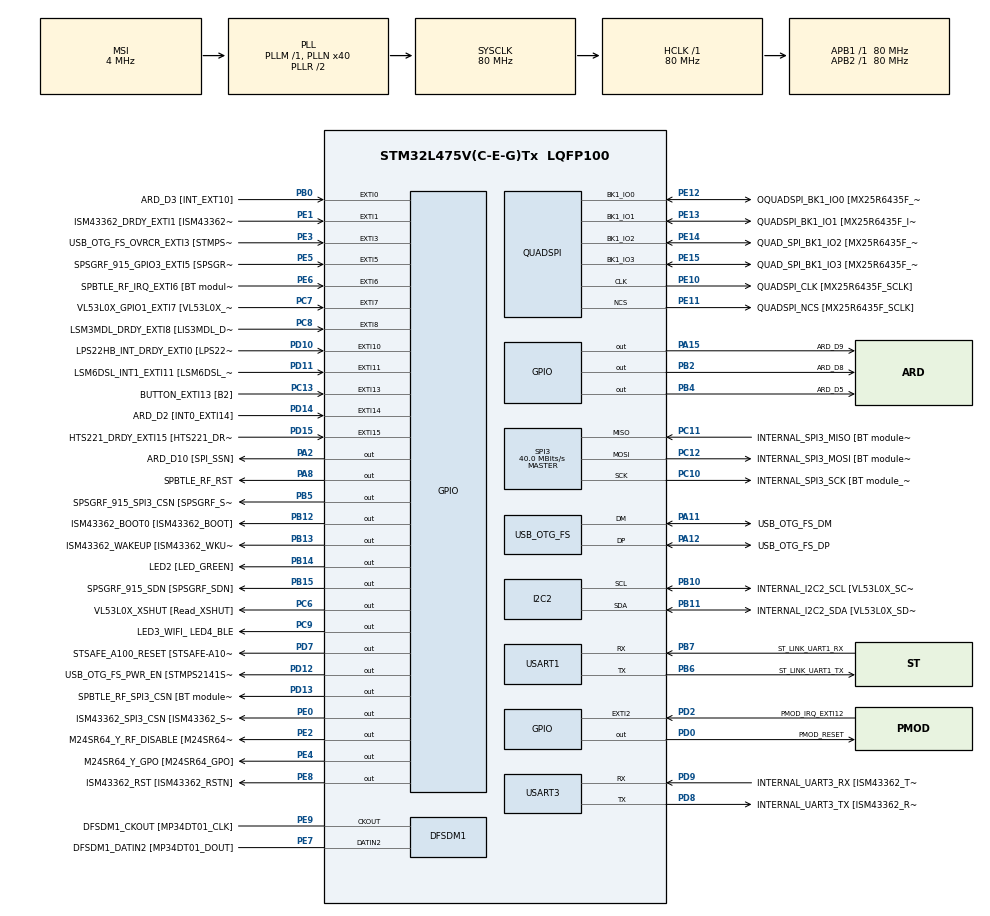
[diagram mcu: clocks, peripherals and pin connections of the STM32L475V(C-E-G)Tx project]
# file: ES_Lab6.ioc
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ADC1.Channel-0\#ChannelRegularConversion=ADC_CHANNEL_TEMPSENSOR
ADC1.ContinuousConvMode=DISABLE
ADC1.DMAContinuousRequests=ENABLE
ADC1.ExternalTrigConv=ADC_EXTERNALTRIG_T2_TRGO
ADC1.NbrOfConversionFlag=1
ADC1.OffsetNumber-0\#ChannelRegularConversion=ADC_OFFSET_NONE
ADC1.Rank-0\#ChannelRegularConversion=1
ADC1.SamplingTime-0\#ChannelRegularConversion=ADC_SAMPLETIME_640CYCLES_5
ADC1.master=1
Dma.ADC1.0.Direction=DMA_PERIPH_TO_MEMORY
Dma.ADC1.0.Instance=DMA1_Channel1
Dma.ADC1.0.MemDataAlignment=DMA_MDATAALIGN_HALFWORD
Dma.ADC1.0.MemInc=DMA_MINC_ENABLE
Dma.ADC1.0.Mode=DMA_CIRCULAR
Dma.ADC1.0.PeriphDataAlignment=DMA_PDATAALIGN_HALFWORD
Dma.ADC1.0.PeriphInc=DMA_PINC_DISABLE
Dma.ADC1.0.Priority=DMA_PRIORITY_LOW
Dma.Request0=ADC1
FREERTOS.BinarySemaphores01=myBinarySem01,Dynamic,NULL,Depleted;myBinarySem02,Dynamic,NULL,Depleted
FREERTOS.Tasks01=defaultTask,24,256,StartDefaultTask,Default,NULL,Dynamic,NULL,NULL
Mcu.Family=STM32L4
Mcu.Name=STM32L475V(C-E-G)Tx
Mcu.Package=LQFP100
NVIC.ADC1_2_IRQn=true\:5\:0\:false\:false\:true\:true\:true\:true\:true
NVIC.DMA1_Channel1_IRQn=true\:5\:0\:false\:false\:true\:true\:false\:true\:true
NVIC.EXTI15_10_IRQn=true\:5\:0\:false\:false\:true\:true\:true\:true\:true
NVIC.EXTI9_5_IRQn=true\:5\:0\:false\:false\:true\:true\:true\:true\:true
NVIC.PriorityGroup=NVIC_PRIORITYGROUP_4
NVIC.TIM1_UP_TIM16_IRQn=true\:15\:0\:false\:false\:true\:false\:false\:true\:true
NVIC.TimeBase=TIM1_UP_TIM16_IRQn
NVIC.TimeBaseIP=TIM1
PA0.GPIO_Label=ARD_D1 [UART4_TX]
PA0.Signal=UART4_TX
PA1.GPIO_Label=ARD_D0 [UART4_RX]
PA1.Signal=UART4_RX
PA10.GPIO_Label=USB_OTG_FS_ID
PA10.Signal=USB_OTG_FS_ID
PA11.GPIO_Label=USB_OTG_FS_DM
PA11.Mode=Device_Only
PA11.Signal=USB_OTG_FS_DM
PA12.GPIO_Label=USB_OTG_FS_DP
PA12.Mode=Device_Only
PA12.Signal=USB_OTG_FS_DP
PA13\ (JTMS-SWDIO).GPIO_Label=SYS_JTMS_SWDIO
PA13\ (JTMS-SWDIO).Mode=Serial_Wire
PA13\ (JTMS-SWDIO).Signal=SYS_JTMS-SWDIO
PA14\ (JTCK-SWCLK).GPIO_Label=SYS_JTCK_SWCLK
PA14\ (JTCK-SWCLK).Mode=Serial_Wire
PA14\ (JTCK-SWCLK).Signal=SYS_JTCK-SWCLK
PA15\ (JTDI).GPIO_Label=ARD_D9
PA15\ (JTDI).Signal=GPIO_Output
PA2.GPIO_Label=ARD_D10 [SPI_SSN]
PA2.Signal=GPIO_Output
PA3.GPIO_Label=ARD_D4
PA3.Signal=S_TIM2_CH4
PA4.GPIO_Label=ARD_D7
PA4.Signal=ADCx_IN9
PA5.GPIO_Label=ARD_D13 [SPI1_SCK]
PA5.Signal=SPI1_SCK
PA6.GPIO_Label=ARD_D12 [SPI1_MISO]
PA6.Signal=SPI1_MISO
PA7.GPIO_Label=ARD_D11 [SPI1_MOSI]
PA7.Signal=SPI1_MOSI
PA8.GPIO_Label=SPBTLE_RF_RST
PA8.Signal=GPIO_Output
PA9.GPIO_Label=USB_OTG_FS_VBUS [STMPS2141STR_OUT]
PA9.Signal=USB_OTG_FS_VBUS
PB0.GPIO_Label=ARD_D3 [INT_EXT10]
PB0.Signal=GPXTI0
PB1.GPIO_Label=ARD_D6 [ADC1_IN6]
PB1.Signal=ADCx_IN16
PB10.GPIO_Label=INTERNAL_I2C2_SCL [VL53L0X_SCL]
PB10.GPIO_Pu=GPIO_PULLUP
PB10.Mode=I2C
PB10.Signal=I2C2_SCL
PB11.GPIO_Label=INTERNAL_I2C2_SDA [VL53L0X_SDA]
PB11.GPIO_Pu=GPIO_PULLUP
PB11.Mode=I2C
PB11.Signal=I2C2_SDA
PB12.GPIO_Label=ISM43362_BOOT0 [ISM43362_BOOT]
PB12.Signal=GPIO_Output
PB13.GPIO_Label=ISM43362_WAKEUP [ISM43362_WKUP]
PB13.Signal=GPIO_Output
PB14.GPIO_Label=LED2 [LED_GREEN]
PB14.Signal=GPIO_Output
PB15.GPIO_Label=SPSGRF_915_SDN [SPSGRF_SDN]
PB15.Signal=GPIO_Output
PB2.GPIO_Label=ARD_D8
PB2.Signal=GPIO_Output
PB3\ (JTDO-TRACESWO).GPIO_Label=SYS_JTD0_SWO
PB3\ (JTDO-TRACESWO).Signal=SYS_JTDO-SWO
PB4\ (NJTRST).GPIO_Label=ARD_D5
PB4\ (NJTRST).Signal=GPIO_Output
PB5.GPIO_Label=SPSGRF_915_SPI3_CSN [SPSGRF_SPI_CS]
PB5.PinState=GPIO_PIN_SET
PB5.Signal=GPIO_Output
PB6.GPIO_Label=ST_LINK_UART1_TX
PB6.Mode=Asynchronous
PB6.Signal=USART1_TX
PB7.GPIO_Label=ST_LINK_UART1_RX
PB7.Mode=Asynchronous
PB7.Signal=USART1_RX
PB8.GPIO_Label=ARD_D15 [I2C1_SCL]
PB8.Signal=I2C1_SCL
PB9.GPIO_Label=ARD_D14 [I2C1_SDA]
PB9.Signal=I2C1_SDA
PC0.GPIO_Label=ARD_A5 [ADC]
PC0.Signal=ADCx_IN1
PC1.GPIO_Label=ARD_A4 [ADC]
PC1.Signal=ADCx_IN2
PC10.GPIO_Label=INTERNAL_SPI3_SCK [BT module_SPI_SCLK] [ISM43362_SCK]
PC10.Mode=Full_Duplex_Master
PC10.Signal=SPI3_SCK
PC11.GPIO_Label=INTERNAL_SPI3_MISO [BT module_SPI_MISO] [ISM43362_MISO]
PC11.Mode=Full_Duplex_Master
PC11.Signal=SPI3_MISO
PC12.GPIO_Label=INTERNAL_SPI3_MOSI [BT module_SPI_MOSI] [ISM43362_MOSI]
PC12.Mode=Full_Duplex_Master
PC12.Signal=SPI3_MOSI
PC13.GPIO_Label=BUTTON_EXTI13 [B2]
PC13.GPIO_ModeDefaultEXTI=GPIO_MODE_IT_FALLING
PC13.Signal=GPXTI13
PC14-OSC32_IN\ (PC14).Mode=LSE-External-Oscillator
PC14-OSC32_IN\ (PC14).Signal=RCC_OSC32_IN
PC15-OSC32_OUT\ (PC15).Mode=LSE-External-Oscillator
PC15-OSC32_OUT\ (PC15).Signal=RCC_OSC32_OUT
PC2.GPIO_Label=ARD_A3 [ADC]
PC2.Signal=ADCx_IN3
PC3.GPIO_Label=ARD_A2 [ADC]
PC3.Signal=ADCx_IN4
PC4.GPIO_Label=ARD_A1 [ADC]
PC4.Signal=ADCx_IN13
PC5.GPIO_Label=ARD_A0 [ADC]
PC5.Signal=ADCx_IN14
PC6.GPIO_Label=VL53L0X_XSHUT [Read_XSHUT]
PC6.Signal=GPIO_Output
PC7.GPIO_Label=VL53L0X_GPIO1_EXTI7 [VL53L0X_GPIO1]
PC7.Signal=GPXTI7
PC8.GPIO_Label=LSM3MDL_DRDY_EXTI8 [LIS3MDL_DRDY]
PC8.Signal=GPXTI8
PC9.GPIO_Label=LED3_WIFI_ LED4_BLE
PC9.Signal=GPIO_Output
PD0.GPIO_Label=PMOD_RESET
PD0.Signal=GPIO_Output
PD1.GPIO_Label=PMOD_SPI2_SCK
PD1.Signal=SPI2_SCK
PD10.GPIO_Label=LPS22HB_INT_DRDY_EXTI0 [LPS22HB_INT_DRDY] 
PD10.Signal=GPXTI10
PD11.GPIO_Label=LSM6DSL_INT1_EXTI11 [LSM6DSL_INT1]
PD11.Signal=GPXTI11
PD12.GPIO_Label=USB_OTG_FS_PWR_EN [STMPS2141STR_EN]
PD12.Signal=GPIO_Output
PD13.GPIO_Label=SPBTLE_RF_SPI3_CSN [BT module_SPI_CS]
PD13.PinState=GPIO_PIN_SET
PD13.Signal=GPIO_Output
PD14.GPIO_Label=ARD_D2 [INT0_EXTI14]
PD14.Signal=GPXTI14
PD15.GPIO_Label=HTS221_DRDY_EXTI15 [HTS221_DRDY]
PD15.Signal=GPXTI15
PD2.GPIO_Label=PMOD_IRQ_EXTI12
PD2.Signal=GPXTI2
PD3.GPIO_Label=PMOD_UART2_CTS
PD3.Signal=USART2_CTS
PD4.GPIO_Label=PMOD_UART2_RTS
PD4.Signal=USART2_RTS
PD5.GPIO_Label=PMOD_UART2_TX
PD5.Signal=USART2_TX
PD6.GPIO_Label=PMOD_UART2_RX
PD6.Signal=USART2_RX
PD7.GPIO_Label=STSAFE_A100_RESET [STSAFE-A100_RESET]
PD7.Signal=GPIO_Output
PD8.GPIO_Label=INTERNAL_UART3_TX [ISM43362_RX]
PD8.Mode=Asynchronous
PD8.Signal=USART3_TX
PD9.GPIO_Label=INTERNAL_UART3_RX [ISM43362_TX]
PD9.Mode=Asynchronous
PD9.Signal=USART3_RX
PE0.GPIO_Label=ISM43362_SPI3_CSN [ISM43362_SSN]
PE0.PinState=GPIO_PIN_SET
PE0.Signal=GPIO_Output
PE1.GPIO_Label=ISM43362_DRDY_EXTI1 [ISM43362_DATARDY]
PE1.Signal=GPXTI1
PE10.GPIO_Label=QUADSPI_CLK [MX25R6435F_SCLK]
PE10.Mode=Single Bank
PE10.Signal=QUADSPI_CLK
PE11.GPIO_Label=QUADSPI_NCS [MX25R6435F_SCLK]
PE11.Mode=Single Bank
PE11.Signal=QUADSPI_NCS
PE12.GPIO_Label=OQUADSPI_BK1_IO0 [MX25R6435F_IO0]
PE12.Mode=Single Bank
PE12.Signal=QUADSPI_BK1_IO0
PE13.GPIO_Label=QUADSPI_BK1_IO1 [MX25R6435F_IO1]
PE13.Mode=Single Bank
PE13.Signal=QUADSPI_BK1_IO1
PE14.GPIO_Label=QUAD_SPI_BK1_IO2 [MX25R6435F_IO2]
PE14.Mode=Single Bank
PE14.Signal=QUADSPI_BK1_IO2
PE15.GPIO_Label=QUAD_SPI_BK1_IO3 [MX25R6435F_IO3]
PE15.Mode=Single Bank
PE15.Signal=QUADSPI_BK1_IO3
PE2.GPIO_Label=M24SR64_Y_RF_DISABLE [M24SR64_RFDIS]
PE2.Signal=GPIO_Output
PE3.GPIO_Label=USB_OTG_FS_OVRCR_EXTI3 [STMPS2141STR_FAULT]
PE3.Signal=GPXTI3
PE4.GPIO_Label=M24SR64_Y_GPO [M24SR64_GPO]
PE4.Signal=GPIO_Output
PE5.GPIO_Label=SPSGRF_915_GPIO3_EXTI5 [SPSGRF_GPIO_3]
PE5.Signal=GPXTI5
PE6.GPIO_Label=SPBTLE_RF_IRQ_EXTI6 [BT module_SPI_IRQ]
PE6.Signal=GPXTI6
PE7.GPIO_Label=DFSDM1_DATIN2 [MP34DT01_DOUT]
PE7.Signal=S_DATAIN2DFSDM1
PE8.GPIO_Label=ISM43362_RST [ISM43362_RSTN]
PE8.Signal=GPIO_Output
PE9.GPIO_Label=DFSDM1_CKOUT [MP34DT01_CLK]
PE9.Signal=S_CKOUTDFSDM1
PH0-OSC_IN\ (PH0).Mode=HSE-External-Oscillator
PH0-OSC_IN\ (PH0).Signal=RCC_OSC_IN
PH1-OSC_OUT\ (PH1).Mode=HSE-External-Oscillator
PH1-OSC_OUT\ (PH1).Signal=RCC_OSC_OUT
ProjectManager.HeapSize=0x200
ProjectManager.StackSize=0x400
ProjectManager.TargetToolchain=STM32CubeIDE
QUADSPI.ClockPrescaler=2
QUADSPI.FifoThreshold=4
QUADSPI.FlashSize=23
QUADSPI.SampleShifting=QSPI_SAMPLE_SHIFTING_HALFCYCLE
RCC.ADCFreq_Value=48000000
RCC.AHBFreq_Value=80000000
RCC.APB1Freq_Value=80000000
RCC.APB1TimFreq_Value=80000000
RCC.APB2Freq_Value=80000000
RCC.APB2TimFreq_Value=80000000
RCC.CortexFreq_Value=80000000
RCC.HCLKFreq_Value=80000000
RCC.HSE_VALUE=8000000
RCC.HSI_VALUE=16000000
RCC.MSI_VALUE=4000000
RCC.PLLN=40
RCC.PLLSAI1N=24
RCC.SYSCLKFreq_VALUE=80000000
RCC.SYSCLKSource=RCC_SYSCLKSOURCE_PLLCLK
RCC.USBFreq_Value=48000000
RCC.VCOOutputFreq_Value=160000000
SH.ADCx_IN1.0=ADC1_IN1
SH.ADCx_IN13.0=ADC1_IN13
SH.ADCx_IN14.0=ADC1_IN14
SH.ADCx_IN16.0=ADC1_IN16
SH.ADCx_IN2.0=ADC1_IN2
SH.ADCx_IN3.0=ADC1_IN3
SH.ADCx_IN4.0=ADC1_IN4
SH.ADCx_IN9.0=ADC1_IN9
SH.S_CKOUTDFSDM1.0=DFSDM1_CKOUT,CKOUT
SH.S_CKOUTDFSDM1.1=DFSDM1_CKOUT,PDM_SPI_Input_from_ch12_and_Internal_Clock
SH.S_DATAIN2DFSDM1.0=DFSDM1_DATIN2,PDM_SPI_Input_from_ch12_and_Internal_Clock
SH.S_TIM2_CH4.0=TIM2_CH4
SPI3.CalculateBaudRate=40.0 MBits/s
SPI3.Direction=SPI_DIRECTION_2LINES
SPI3.Mode=SPI_MODE_MASTER
SPI3.VirtualType=VM_MASTER
TIM2.Period=9999
TIM2.Prescaler=79
TIM2.TIM_MasterOutputTrigger=TIM_TRGO_UPDATE
USART1.VirtualMode-Asynchronous=VM_ASYNC
USART3.VirtualMode-Asynchronous=VM_ASYNC
USB_OTG_FS.VirtualMode=Device_Only
VP_ADC1_TempSens_Input.Mode=IN-TempSens
VP_FREERTOS_VS_CMSIS_V2.Mode=CMSIS_V2
VP_SYS_VS_tim1.Mode=TIM1
VP_TIM2_VS_ClockSourceINT.Mode=Internal
board=B-L475E-IOT01A2

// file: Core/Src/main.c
/* USER CODE BEGIN Header */
/**
  ******************************************************************************
  * @file           : main.c
  * @brief          : Main program body
  ******************************************************************************
  * @attention
  *
  * Copyright (c) 2025 STMicroelectronics.
  * All rights reserved.
  *
  * This software is licensed under terms that can be found in the LICENSE file
  * in the root directory of this software component.
  * If no LICENSE file comes with this software, it is provided AS-IS.
  *
  ******************************************************************************
  */
/* USER CODE END Header */
#include "main.h"
#include "cmsis_os.h"

/* USER CODE BEGIN Includes */
#include "tmpsensor.h"
#include "uart_printf.h"
/* USER CODE END Includes */

/* USER CODE BEGIN PD */
#define SAMPLE_BUFFER_SIZE  256
/* USER CODE END PD */

ADC_HandleTypeDef hadc1;
DMA_HandleTypeDef hdma_adc1;

DFSDM_Channel_HandleTypeDef hdfsdm1_channel1;

I2C_HandleTypeDef hi2c2;

QSPI_HandleTypeDef hqspi;

SPI_HandleTypeDef hspi3;

TIM_HandleTypeDef htim2;

UART_HandleTypeDef huart1;
UART_HandleTypeDef huart3;

PCD_HandleTypeDef hpcd_USB_OTG_FS;

/* Definitions for defaultTask */
osThreadId_t defaultTaskHandle;
const osThreadAttr_t defaultTask_attributes = {
  .name = "defaultTask",
  .stack_size = 256 * 4,
  .priority = (osPriority_t) osPriorityNormal,
};
/* Definitions for myBinarySem01 */
osSemaphoreId_t myBinarySem01Handle;
const osSemaphoreAttr_t myBinarySem01_attributes = {
  .name = "myBinarySem01"
};
/* Definitions for myBinarySem02 */
osSemaphoreId_t myBinarySem02Handle;
const osSemaphoreAttr_t myBinarySem02_attributes = {
  .name = "myBinarySem02"
};
/* USER CODE BEGIN PV */
uint16_t sample_buffer[SAMPLE_BUFFER_SIZE];
/* USER CODE END PV */

void SystemClock_Config(void);
void PeriphCommonClock_Config(void);
static void MX_GPIO_Init(void);
static void MX_DMA_Init(void);
static void MX_DFSDM1_Init(void);
static void MX_I2C2_Init(void);
static void MX_QUADSPI_Init(void);
static void MX_SPI3_Init(void);
static void MX_USART1_UART_Init(void);
static void MX_USART3_UART_Init(void);
static void MX_USB_OTG_FS_PCD_Init(void);
static void MX_ADC1_Init(void);
static void MX_TIM2_Init(void);
void StartDefaultTask(void *argument);

int main(void)
{

  /* MCU Configuration--------------------------------------------------------*/

  /* Reset of all peripherals, Initializes the Flash interface and the Systick. */
  HAL_Init();

  /* Configure the system clock */
  SystemClock_Config();

  /* Configure the peripherals common clocks */
  PeriphCommonClock_Config();

  /* Initialize all configured peripherals */
  MX_GPIO_Init();
  MX_DMA_Init();
  MX_DFSDM1_Init();
  MX_I2C2_Init();
  MX_QUADSPI_Init();
  MX_SPI3_Init();
  MX_USART1_UART_Init();
  MX_USART3_UART_Init();
  MX_USB_OTG_FS_PCD_Init();
  MX_ADC1_Init();
  MX_TIM2_Init();
  /* USER CODE BEGIN 2 */
  HAL_ADC_Start_DMA(&hadc1, (uint32_t*)sample_buffer, SAMPLE_BUFFER_SIZE);
  HAL_TIM_Base_Start(&htim2); /* This timer starts ADC conversion */
  /* USER CODE END 2 */

  /* Init scheduler */
  osKernelInitialize();

  /* Create the semaphores(s) */
  /* creation of myBinarySem01 */
  myBinarySem01Handle = osSemaphoreNew(1, 0, &myBinarySem01_attributes);

  /* creation of myBinarySem02 */
  myBinarySem02Handle = osSemaphoreNew(1, 0, &myBinarySem02_attributes);

  /* Create the thread(s) */
  /* creation of defaultTask */
  defaultTaskHandle = osThreadNew(StartDefaultTask, NULL, &defaultTask_attributes);

  /* Start scheduler */
  osKernelStart();

  /* We should never get here as control is now taken by the scheduler */

  /* Infinite loop */
  while (1)
  {

  }
}

void SystemClock_Config(void)
{
  RCC_OscInitTypeDef RCC_OscInitStruct = {0};
  RCC_ClkInitTypeDef RCC_ClkInitStruct = {0};

  /** Configure the main internal regulator output voltage
  */
  if (HAL_PWREx_ControlVoltageScaling(PWR_REGULATOR_VOLTAGE_SCALE1) != HAL_OK)
  {
    Error_Handler();
  }

  /** Configure LSE Drive Capability
  */
  HAL_PWR_EnableBkUpAccess();
  __HAL_RCC_LSEDRIVE_CONFIG(RCC_LSEDRIVE_LOW);

  /** Initializes the RCC Oscillators according to the specified parameters
  * in the RCC_OscInitTypeDef structure.
  */
  RCC_OscInitStruct.OscillatorType = RCC_OSCILLATORTYPE_LSE|RCC_OSCILLATORTYPE_MSI;
  RCC_OscInitStruct.LSEState = RCC_LSE_ON;
  RCC_OscInitStruct.MSIState = RCC_MSI_ON;
  RCC_OscInitStruct.MSICalibrationValue = 0;
  RCC_OscInitStruct.MSIClockRange = RCC_MSIRANGE_6;
  RCC_OscInitStruct.PLL.PLLState = RCC_PLL_ON;
  RCC_OscInitStruct.PLL.PLLSource = RCC_PLLSOURCE_MSI;
  RCC_OscInitStruct.PLL.PLLM = 1;
  RCC_OscInitStruct.PLL.PLLN = 40;
  RCC_OscInitStruct.PLL.PLLP = RCC_PLLP_DIV7;
  RCC_OscInitStruct.PLL.PLLQ = RCC_PLLQ_DIV2;
  RCC_OscInitStruct.PLL.PLLR = RCC_PLLR_DIV2;
  if (HAL_RCC_OscConfig(&RCC_OscInitStruct) != HAL_OK)
  {
    Error_Handler();
  }

  /** Initializes the CPU, AHB and APB buses clocks
  */
  RCC_ClkInitStruct.ClockType = RCC_CLOCKTYPE_HCLK|RCC_CLOCKTYPE_SYSCLK
                              |RCC_CLOCKTYPE_PCLK1|RCC_CLOCKTYPE_PCLK2;
  RCC_ClkInitStruct.SYSCLKSource = RCC_SYSCLKSOURCE_PLLCLK;
  RCC_ClkInitStruct.AHBCLKDivider = RCC_SYSCLK_DIV1;
  RCC_ClkInitStruct.APB1CLKDivider = RCC_HCLK_DIV1;
  RCC_ClkInitStruct.APB2CLKDivider = RCC_HCLK_DIV1;

  if (HAL_RCC_ClockConfig(&RCC_ClkInitStruct, FLASH_LATENCY_4) != HAL_OK)
  {
    Error_Handler();
  }

  /** Enable MSI Auto calibration
  */
  HAL_RCCEx_EnableMSIPLLMode();
}

void PeriphCommonClock_Config(void)
{
  RCC_PeriphCLKInitTypeDef PeriphClkInit = {0};

  /** Initializes the peripherals clock
  */
  PeriphClkInit.PeriphClockSelection = RCC_PERIPHCLK_USB|RCC_PERIPHCLK_ADC;
  PeriphClkInit.AdcClockSelection = RCC_ADCCLKSOURCE_PLLSAI1;
  PeriphClkInit.UsbClockSelection = RCC_USBCLKSOURCE_PLLSAI1;
  PeriphClkInit.PLLSAI1.PLLSAI1Source = RCC_PLLSOURCE_MSI;
  PeriphClkInit.PLLSAI1.PLLSAI1M = 1;
  PeriphClkInit.PLLSAI1.PLLSAI1N = 24;
  PeriphClkInit.PLLSAI1.PLLSAI1P = RCC_PLLP_DIV7;
  PeriphClkInit.PLLSAI1.PLLSAI1Q = RCC_PLLQ_DIV2;
  PeriphClkInit.PLLSAI1.PLLSAI1R = RCC_PLLR_DIV2;
  PeriphClkInit.PLLSAI1.PLLSAI1ClockOut = RCC_PLLSAI1_48M2CLK|RCC_PLLSAI1_ADC1CLK;
  if (HAL_RCCEx_PeriphCLKConfig(&PeriphClkInit) != HAL_OK)
  {
    Error_Handler();
  }
}

static void MX_ADC1_Init(void)
{

  ADC_MultiModeTypeDef multimode = {0};
  ADC_ChannelConfTypeDef sConfig = {0};

  /** Common config
  */
  hadc1.Instance = ADC1;
  hadc1.Init.ClockPrescaler = ADC_CLOCK_ASYNC_DIV1;
  hadc1.Init.Resolution = ADC_RESOLUTION_12B;
  hadc1.Init.DataAlign = ADC_DATAALIGN_RIGHT;
  hadc1.Init.ScanConvMode = ADC_SCAN_DISABLE;
  hadc1.Init.EOCSelection = ADC_EOC_SINGLE_CONV;
  hadc1.Init.LowPowerAutoWait = DISABLE;
  hadc1.Init.ContinuousConvMode = DISABLE;
  hadc1.Init.NbrOfConversion = 1;
  hadc1.Init.DiscontinuousConvMode = DISABLE;
  hadc1.Init.ExternalTrigConv = ADC_EXTERNALTRIG_T2_TRGO;
  hadc1.Init.ExternalTrigConvEdge = ADC_EXTERNALTRIGCONVEDGE_RISING;
  hadc1.Init.DMAContinuousRequests = ENABLE;
  hadc1.Init.Overrun = ADC_OVR_DATA_PRESERVED;
  hadc1.Init.OversamplingMode = DISABLE;
  if (HAL_ADC_Init(&hadc1) != HAL_OK)
  {
    Error_Handler();
  }

  /** Configure the ADC multi-mode
  */
  multimode.Mode = ADC_MODE_INDEPENDENT;
  if (HAL_ADCEx_MultiModeConfigChannel(&hadc1, &multimode) != HAL_OK)
  {
    Error_Handler();
  }

  /** Configure Regular Channel
  */
  sConfig.Channel = ADC_CHANNEL_TEMPSENSOR;
  sConfig.Rank = ADC_REGULAR_RANK_1;
  sConfig.SamplingTime = ADC_SAMPLETIME_640CYCLES_5;
  sConfig.SingleDiff = ADC_SINGLE_ENDED;
  sConfig.OffsetNumber = ADC_OFFSET_NONE;
  sConfig.Offset = 0;
  if (HAL_ADC_ConfigChannel(&hadc1, &sConfig) != HAL_OK)
  {
    Error_Handler();
  }

}

static void MX_DFSDM1_Init(void)
{

  hdfsdm1_channel1.Instance = DFSDM1_Channel1;
  hdfsdm1_channel1.Init.OutputClock.Activation = ENABLE;
  hdfsdm1_channel1.Init.OutputClock.Selection = DFSDM_CHANNEL_OUTPUT_CLOCK_SYSTEM;
  hdfsdm1_channel1.Init.OutputClock.Divider = 2;
  hdfsdm1_channel1.Init.Input.Multiplexer = DFSDM_CHANNEL_EXTERNAL_INPUTS;
  hdfsdm1_channel1.Init.Input.DataPacking = DFSDM_CHANNEL_STANDARD_MODE;
  hdfsdm1_channel1.Init.Input.Pins = DFSDM_CHANNEL_FOLLOWING_CHANNEL_PINS;
  hdfsdm1_channel1.Init.SerialInterface.Type = DFSDM_CHANNEL_SPI_RISING;
  hdfsdm1_channel1.Init.SerialInterface.SpiClock = DFSDM_CHANNEL_SPI_CLOCK_INTERNAL;
  hdfsdm1_channel1.Init.Awd.FilterOrder = DFSDM_CHANNEL_FASTSINC_ORDER;
  hdfsdm1_channel1.Init.Awd.Oversampling = 1;
  hdfsdm1_channel1.Init.Offset = 0;
  hdfsdm1_channel1.Init.RightBitShift = 0x00;
  if (HAL_DFSDM_ChannelInit(&hdfsdm1_channel1) != HAL_OK)
  {
    Error_Handler();
  }

}

static void MX_I2C2_Init(void)
{

  hi2c2.Instance = I2C2;
  hi2c2.Init.Timing = 0x00000E14;
  hi2c2.Init.OwnAddress1 = 0;
  hi2c2.Init.AddressingMode = I2C_ADDRESSINGMODE_7BIT;
  hi2c2.Init.DualAddressMode = I2C_DUALADDRESS_DISABLE;
  hi2c2.Init.OwnAddress2 = 0;
  hi2c2.Init.OwnAddress2Masks = I2C_OA2_NOMASK;
  hi2c2.Init.GeneralCallMode = I2C_GENERALCALL_DISABLE;
  hi2c2.Init.NoStretchMode = I2C_NOSTRETCH_DISABLE;
  if (HAL_I2C_Init(&hi2c2) != HAL_OK)
  {
    Error_Handler();
  }

  /** Configure Analogue filter
  */
  if (HAL_I2CEx_ConfigAnalogFilter(&hi2c2, I2C_ANALOGFILTER_ENABLE) != HAL_OK)
  {
    Error_Handler();
  }

  /** Configure Digital filter
  */
  if (HAL_I2CEx_ConfigDigitalFilter(&hi2c2, 0) != HAL_OK)
  {
    Error_Handler();
  }

}

static void MX_QUADSPI_Init(void)
{

  /* QUADSPI parameter configuration*/
  hqspi.Instance = QUADSPI;
  hqspi.Init.ClockPrescaler = 2;
  hqspi.Init.FifoThreshold = 4;
  hqspi.Init.SampleShifting = QSPI_SAMPLE_SHIFTING_HALFCYCLE;
  hqspi.Init.FlashSize = 23;
  hqspi.Init.ChipSelectHighTime = QSPI_CS_HIGH_TIME_1_CYCLE;
  hqspi.Init.ClockMode = QSPI_CLOCK_MODE_0;
  if (HAL_QSPI_Init(&hqspi) != HAL_OK)
  {
    Error_Handler();
  }

}

static void MX_SPI3_Init(void)
{

  /* SPI3 parameter configuration*/
  hspi3.Instance = SPI3;
  hspi3.Init.Mode = SPI_MODE_MASTER;
  hspi3.Init.Direction = SPI_DIRECTION_2LINES;
  hspi3.Init.DataSize = SPI_DATASIZE_4BIT;
  hspi3.Init.CLKPolarity = SPI_POLARITY_LOW;
  hspi3.Init.CLKPhase = SPI_PHASE_1EDGE;
  hspi3.Init.NSS = SPI_NSS_SOFT;
  hspi3.Init.BaudRatePrescaler = SPI_BAUDRATEPRESCALER_2;
  hspi3.Init.FirstBit = SPI_FIRSTBIT_MSB;
  hspi3.Init.TIMode = SPI_TIMODE_DISABLE;
  hspi3.Init.CRCCalculation = SPI_CRCCALCULATION_DISABLE;
  hspi3.Init.CRCPolynomial = 7;
  hspi3.Init.CRCLength = SPI_CRC_LENGTH_DATASIZE;
  hspi3.Init.NSSPMode = SPI_NSS_PULSE_ENABLE;
  if (HAL_SPI_Init(&hspi3) != HAL_OK)
  {
    Error_Handler();
  }

}

static void MX_TIM2_Init(void)
{

  TIM_ClockConfigTypeDef sClockSourceConfig = {0};
  TIM_MasterConfigTypeDef sMasterConfig = {0};

  htim2.Instance = TIM2;
  htim2.Init.Prescaler = 79;
  htim2.Init.CounterMode = TIM_COUNTERMODE_UP;
  htim2.Init.Period = 9999;
  htim2.Init.ClockDivision = TIM_CLOCKDIVISION_DIV1;
  htim2.Init.AutoReloadPreload = TIM_AUTORELOAD_PRELOAD_DISABLE;
  if (HAL_TIM_Base_Init(&htim2) != HAL_OK)
  {
    Error_Handler();
  }
  sClockSourceConfig.ClockSource = TIM_CLOCKSOURCE_INTERNAL;
  if (HAL_TIM_ConfigClockSource(&htim2, &sClockSourceConfig) != HAL_OK)
  {
    Error_Handler();
  }
  sMasterConfig.MasterOutputTrigger = TIM_TRGO_UPDATE;
  sMasterConfig.MasterSlaveMode = TIM_MASTERSLAVEMODE_DISABLE;
  if (HAL_TIMEx_MasterConfigSynchronization(&htim2, &sMasterConfig) != HAL_OK)
  {
    Error_Handler();
  }

}

static void MX_USART1_UART_Init(void)
{

  huart1.Instance = USART1;
  huart1.Init.BaudRate = 115200;
  huart1.Init.WordLength = UART_WORDLENGTH_8B;
  huart1.Init.StopBits = UART_STOPBITS_1;
  huart1.Init.Parity = UART_PARITY_NONE;
  huart1.Init.Mode = UART_MODE_TX_RX;
  huart1.Init.HwFlowCtl = UART_HWCONTROL_NONE;
  huart1.Init.OverSampling = UART_OVERSAMPLING_16;
  huart1.Init.OneBitSampling = UART_ONE_BIT_SAMPLE_DISABLE;
  huart1.AdvancedInit.AdvFeatureInit = UART_ADVFEATURE_NO_INIT;
  if (HAL_UART_Init(&huart1) != HAL_OK)
  {
    Error_Handler();
  }

}

static void MX_USART3_UART_Init(void)
{

  huart3.Instance = USART3;
  huart3.Init.BaudRate = 115200;
  huart3.Init.WordLength = UART_WORDLENGTH_8B;
  huart3.Init.StopBits = UART_STOPBITS_1;
  huart3.Init.Parity = UART_PARITY_NONE;
  huart3.Init.Mode = UART_MODE_TX_RX;
  huart3.Init.HwFlowCtl = UART_HWCONTROL_NONE;
  huart3.Init.OverSampling = UART_OVERSAMPLING_16;
  huart3.Init.OneBitSampling = UART_ONE_BIT_SAMPLE_DISABLE;
  huart3.AdvancedInit.AdvFeatureInit = UART_ADVFEATURE_NO_INIT;
  if (HAL_UART_Init(&huart3) != HAL_OK)
  {
    Error_Handler();
  }

}

static void MX_USB_OTG_FS_PCD_Init(void)
{

  hpcd_USB_OTG_FS.Instance = USB_OTG_FS;
  hpcd_USB_OTG_FS.Init.dev_endpoints = 6;
  hpcd_USB_OTG_FS.Init.speed = PCD_SPEED_FULL;
  hpcd_USB_OTG_FS.Init.phy_itface = PCD_PHY_EMBEDDED;
  hpcd_USB_OTG_FS.Init.Sof_enable = DISABLE;
  hpcd_USB_OTG_FS.Init.low_power_enable = DISABLE;
  hpcd_USB_OTG_FS.Init.lpm_enable = DISABLE;
  hpcd_USB_OTG_FS.Init.battery_charging_enable = DISABLE;
  hpcd_USB_OTG_FS.Init.use_dedicated_ep1 = DISABLE;
  hpcd_USB_OTG_FS.Init.vbus_sensing_enable = DISABLE;
  if (HAL_PCD_Init(&hpcd_USB_OTG_FS) != HAL_OK)
  {
    Error_Handler();
  }

}

static void MX_DMA_Init(void)
{

  /* DMA controller clock enable */
  __HAL_RCC_DMA1_CLK_ENABLE();

  /* DMA interrupt init */
  /* DMA1_Channel1_IRQn interrupt configuration */
  HAL_NVIC_SetPriority(DMA1_Channel1_IRQn, 5, 0);
  HAL_NVIC_EnableIRQ(DMA1_Channel1_IRQn);

}

static void MX_GPIO_Init(void)
{
  GPIO_InitTypeDef GPIO_InitStruct = {0};

  /* GPIO Ports Clock Enable */
  __HAL_RCC_GPIOE_CLK_ENABLE();
  __HAL_RCC_GPIOC_CLK_ENABLE();
  __HAL_RCC_GPIOH_CLK_ENABLE();
  __HAL_RCC_GPIOA_CLK_ENABLE();
  __HAL_RCC_GPIOB_CLK_ENABLE();
  __HAL_RCC_GPIOD_CLK_ENABLE();

  /*Configure GPIO pin Output Level */
  HAL_GPIO_WritePin(GPIOE, M24SR64_Y_RF_DISABLE_Pin|M24SR64_Y_GPO_Pin|ISM43362_RST_Pin, GPIO_PIN_RESET);

  /*Configure GPIO pin Output Level */
  HAL_GPIO_WritePin(GPIOA, ARD_D10_Pin|SPBTLE_RF_RST_Pin|ARD_D9_Pin, GPIO_PIN_RESET);

  /*Configure GPIO pin Output Level */
  HAL_GPIO_WritePin(GPIOB, ARD_D8_Pin|ISM43362_BOOT0_Pin|ISM43362_WAKEUP_Pin|LED2_Pin
                          |SPSGRF_915_SDN_Pin|ARD_D5_Pin, GPIO_PIN_RESET);

  /*Configure GPIO pin Output Level */
  HAL_GPIO_WritePin(GPIOD, USB_OTG_FS_PWR_EN_Pin|PMOD_RESET_Pin|STSAFE_A100_RESET_Pin, GPIO_PIN_RESET);

  /*Configure GPIO pin Output Level */
  HAL_GPIO_WritePin(SPBTLE_RF_SPI3_CSN_GPIO_Port, SPBTLE_RF_SPI3_CSN_Pin, GPIO_PIN_SET);

  /*Configure GPIO pin Output Level */
  HAL_GPIO_WritePin(GPIOC, VL53L0X_XSHUT_Pin|LED3_WIFI__LED4_BLE_Pin, GPIO_PIN_RESET);

  /*Configure GPIO pin Output Level */
  HAL_GPIO_WritePin(SPSGRF_915_SPI3_CSN_GPIO_Port, SPSGRF_915_SPI3_CSN_Pin, GPIO_PIN_SET);

  /*Configure GPIO pin Output Level */
  HAL_GPIO_WritePin(ISM43362_SPI3_CSN_GPIO_Port, ISM43362_SPI3_CSN_Pin, GPIO_PIN_SET);

  /*Configure GPIO pins : M24SR64_Y_RF_DISABLE_Pin M24SR64_Y_GPO_Pin ISM43362_RST_Pin ISM43362_SPI3_CSN_Pin */
  GPIO_InitStruct.Pin = M24SR64_Y_RF_DISABLE_Pin|M24SR64_Y_GPO_Pin|ISM43362_RST_Pin|ISM43362_SPI3_CSN_Pin;
  GPIO_InitStruct.Mode = GPIO_MODE_OUTPUT_PP;
  GPIO_InitStruct.Pull = GPIO_NOPULL;
  GPIO_InitStruct.Speed = GPIO_SPEED_FREQ_LOW;
  HAL_GPIO_Init(GPIOE, &GPIO_InitStruct);

  /*Configure GPIO pins : USB_OTG_FS_OVRCR_EXTI3_Pin SPSGRF_915_GPIO3_EXTI5_Pin SPBTLE_RF_IRQ_EXTI6_Pin ISM43362_DRDY_EXTI1_Pin */
  GPIO_InitStruct.Pin = USB_OTG_FS_OVRCR_EXTI3_Pin|SPSGRF_915_GPIO3_EXTI5_Pin|SPBTLE_RF_IRQ_EXTI6_Pin|ISM43362_DRDY_EXTI1_Pin;
  GPIO_InitStruct.Mode = GPIO_MODE_IT_RISING;
  GPIO_InitStruct.Pull = GPIO_NOPULL;
  HAL_GPIO_Init(GPIOE, &GPIO_InitStruct);

  /*Configure GPIO pin : BUTTON_EXTI13_Pin */
  GPIO_InitStruct.Pin = BUTTON_EXTI13_Pin;
  GPIO_InitStruct.Mode = GPIO_MODE_IT_FALLING;
  GPIO_InitStruct.Pull = GPIO_NOPULL;
  HAL_GPIO_Init(BUTTON_EXTI13_GPIO_Port, &GPIO_InitStruct);

  /*Configure GPIO pins : ARD_D1_Pin ARD_D0_Pin */
  GPIO_InitStruct.Pin = ARD_D1_Pin|ARD_D0_Pin;
  GPIO_InitStruct.Mode = GPIO_MODE_AF_PP;
  GPIO_InitStruct.Pull = GPIO_NOPULL;
  GPIO_InitStruct.Speed = GPIO_SPEED_FREQ_VERY_HIGH;
  GPIO_InitStruct.Alternate = GPIO_AF8_UART4;
  HAL_GPIO_Init(GPIOA, &GPIO_InitStruct);

  /*Configure GPIO pins : ARD_D10_Pin SPBTLE_RF_RST_Pin ARD_D9_Pin */
  GPIO_InitStruct.Pin = ARD_D10_Pin|SPBTLE_RF_RST_Pin|ARD_D9_Pin;
  GPIO_InitStruct.Mode = GPIO_MODE_OUTPUT_PP;
  GPIO_InitStruct.Pull = GPIO_NOPULL;
  GPIO_InitStruct.Speed = GPIO_SPEED_FREQ_LOW;
  HAL_GPIO_Init(GPIOA, &GPIO_InitStruct);

  /*Configure GPIO pins : ARD_D13_Pin ARD_D12_Pin ARD_D11_Pin */
  GPIO_InitStruct.Pin = ARD_D13_Pin|ARD_D12_Pin|ARD_D11_Pin;
  GPIO_InitStruct.Mode = GPIO_MODE_AF_PP;
  GPIO_InitStruct.Pull = GPIO_NOPULL;
  GPIO_InitStruct.Speed = GPIO_SPEED_FREQ_VERY_HIGH;
  GPIO_InitStruct.Alternate = GPIO_AF5_SPI1;
  HAL_GPIO_Init(GPIOA, &GPIO_InitStruct);

  /*Configure GPIO pin : ARD_D3_Pin */
  GPIO_InitStruct.Pin = ARD_D3_Pin;
  GPIO_InitStruct.Mode = GPIO_MODE_IT_RISING;
  GPIO_InitStruct.Pull = GPIO_NOPULL;
  HAL_GPIO_Init(ARD_D3_GPIO_Port, &GPIO_InitStruct);

  /*Configure GPIO pins : ARD_D8_Pin ISM43362_BOOT0_Pin ISM43362_WAKEUP_Pin LED2_Pin
                           SPSGRF_915_SDN_Pin ARD_D5_Pin SPSGRF_915_SPI3_CSN_Pin */
  GPIO_InitStruct.Pin = ARD_D8_Pin|ISM43362_BOOT0_Pin|ISM43362_WAKEUP_Pin|LED2_Pin
                          |SPSGRF_915_SDN_Pin|ARD_D5_Pin|SPSGRF_915_SPI3_CSN_Pin;
  GPIO_InitStruct.Mode = GPIO_MODE_OUTPUT_PP;
  GPIO_InitStruct.Pull = GPIO_NOPULL;
  GPIO_InitStruct.Speed = GPIO_SPEED_FREQ_LOW;
  HAL_GPIO_Init(GPIOB, &GPIO_InitStruct);

  /*Configure GPIO pins : LPS22HB_INT_DRDY_EXTI0_Pin LSM6DSL_INT1_EXTI11_Pin ARD_D2_Pin HTS221_DRDY_EXTI15_Pin
                           PMOD_IRQ_EXTI12_Pin */
  GPIO_InitStruct.Pin = LPS22HB_INT_DRDY_EXTI0_Pin|LSM6DSL_INT1_EXTI11_Pin|ARD_D2_Pin|HTS221_DRDY_EXTI15_Pin
                          |PMOD_IRQ_EXTI12_Pin;
  GPIO_InitStruct.Mode = GPIO_MODE_IT_RISING;
  GPIO_InitStruct.Pull = GPIO_NOPULL;
  HAL_GPIO_Init(GPIOD, &GPIO_InitStruct);

  /*Configure GPIO pins : USB_OTG_FS_PWR_EN_Pin SPBTLE_RF_SPI3_CSN_Pin PMOD_RESET_Pin STSAFE_A100_RESET_Pin */
  GPIO_InitStruct.Pin = USB_OTG_FS_PWR_EN_Pin|SPBTLE_RF_SPI3_CSN_Pin|PMOD_RESET_Pin|STSAFE_A100_RESET_Pin;
  GPIO_InitStruct.Mode = GPIO_MODE_OUTPUT_PP;
  GPIO_InitStruct.Pull = GPIO_NOPULL;
  GPIO_InitStruct.Speed = GPIO_SPEED_FREQ_LOW;
  HAL_GPIO_Init(GPIOD, &GPIO_InitStruct);

  /*Configure GPIO pins : VL53L0X_XSHUT_Pin LED3_WIFI__LED4_BLE_Pin */
  GPIO_InitStruct.Pin = VL53L0X_XSHUT_Pin|LED3_WIFI__LED4_BLE_Pin;
  GPIO_InitStruct.Mode = GPIO_MODE_OUTPUT_PP;
  GPIO_InitStruct.Pull = GPIO_NOPULL;
  GPIO_InitStruct.Speed = GPIO_SPEED_FREQ_LOW;
  HAL_GPIO_Init(GPIOC, &GPIO_InitStruct);

  /*Configure GPIO pins : VL53L0X_GPIO1_EXTI7_Pin LSM3MDL_DRDY_EXTI8_Pin */
  GPIO_InitStruct.Pin = VL53L0X_GPIO1_EXTI7_Pin|LSM3MDL_DRDY_EXTI8_Pin;
  GPIO_InitStruct.Mode = GPIO_MODE_IT_RISING;
  GPIO_InitStruct.Pull = GPIO_NOPULL;
  HAL_GPIO_Init(GPIOC, &GPIO_InitStruct);

  /*Configure GPIO pin : PMOD_SPI2_SCK_Pin */
  GPIO_InitStruct.Pin = PMOD_SPI2_SCK_Pin;
  GPIO_InitStruct.Mode = GPIO_MODE_AF_PP;
  GPIO_InitStruct.Pull = GPIO_NOPULL;
  GPIO_InitStruct.Speed = GPIO_SPEED_FREQ_VERY_HIGH;
  GPIO_InitStruct.Alternate = GPIO_AF5_SPI2;
  HAL_GPIO_Init(PMOD_SPI2_SCK_GPIO_Port, &GPIO_InitStruct);

  /*Configure GPIO pins : PMOD_UART2_CTS_Pin PMOD_UART2_RTS_Pin PMOD_UART2_TX_Pin PMOD_UART2_RX_Pin */
  GPIO_InitStruct.Pin = PMOD_UART2_CTS_Pin|PMOD_UART2_RTS_Pin|PMOD_UART2_TX_Pin|PMOD_UART2_RX_Pin;
  GPIO_InitStruct.Mode = GPIO_MODE_AF_PP;
  GPIO_InitStruct.Pull = GPIO_NOPULL;
  GPIO_InitStruct.Speed = GPIO_SPEED_FREQ_VERY_HIGH;
  GPIO_InitStruct.Alternate = GPIO_AF7_USART2;
  HAL_GPIO_Init(GPIOD, &GPIO_InitStruct);

  /*Configure GPIO pins : ARD_D15_Pin ARD_D14_Pin */
  GPIO_InitStruct.Pin = ARD_D15_Pin|ARD_D14_Pin;
  GPIO_InitStruct.Mode = GPIO_MODE_AF_OD;
  GPIO_InitStruct.Pull = GPIO_NOPULL;
  GPIO_InitStruct.Speed = GPIO_SPEED_FREQ_VERY_HIGH;
  GPIO_InitStruct.Alternate = GPIO_AF4_I2C1;
  HAL_GPIO_Init(GPIOB, &GPIO_InitStruct);

  /* EXTI interrupt init*/
  HAL_NVIC_SetPriority(EXTI9_5_IRQn, 5, 0);
  HAL_NVIC_EnableIRQ(EXTI9_5_IRQn);

  HAL_NVIC_SetPriority(EXTI15_10_IRQn, 5, 0);
  HAL_NVIC_EnableIRQ(EXTI15_10_IRQn);

}

void StartDefaultTask(void *argument)
{
  /* USER CODE BEGIN 5 */
  /* Infinite loop */
  for(;;)
  {
	 osSemaphoreAcquire(myBinarySem01Handle, osWaitForever);
	 /* Temperature Sensor ADC-value, Reference Voltage ADC-value (if use) */
	 //UART_Printf("Reference: Adc.Raw[0] = %u\r\n", Adc.Raw[0]);
	 UART_Printf("top half:\r\n");
	 for(int i = 0; i < SAMPLE_BUFFER_SIZE / 2; i++)
	 {
		 UART_Printf("%u,", sample_buffer[i]);
	 }
	 UART_Printf("\r\n");
	 osSemaphoreAcquire(myBinarySem02Handle, osWaitForever);
	 UART_Printf("bottom half:\r\n");
	 for(int i = SAMPLE_BUFFER_SIZE / 2; i < SAMPLE_BUFFER_SIZE; i++)
	 {
		 UART_Printf("%u,", sample_buffer[i]);
	 }
	 UART_Printf("\r\n");
  }
  /* USER CODE END 5 */
}

void HAL_TIM_PeriodElapsedCallback(TIM_HandleTypeDef *htim)
{
  if (htim->Instance == TIM1) {
    HAL_IncTick();
  }
}

void Error_Handler(void)
{
  __disable_irq();
  while (1)
  {
  }
}
